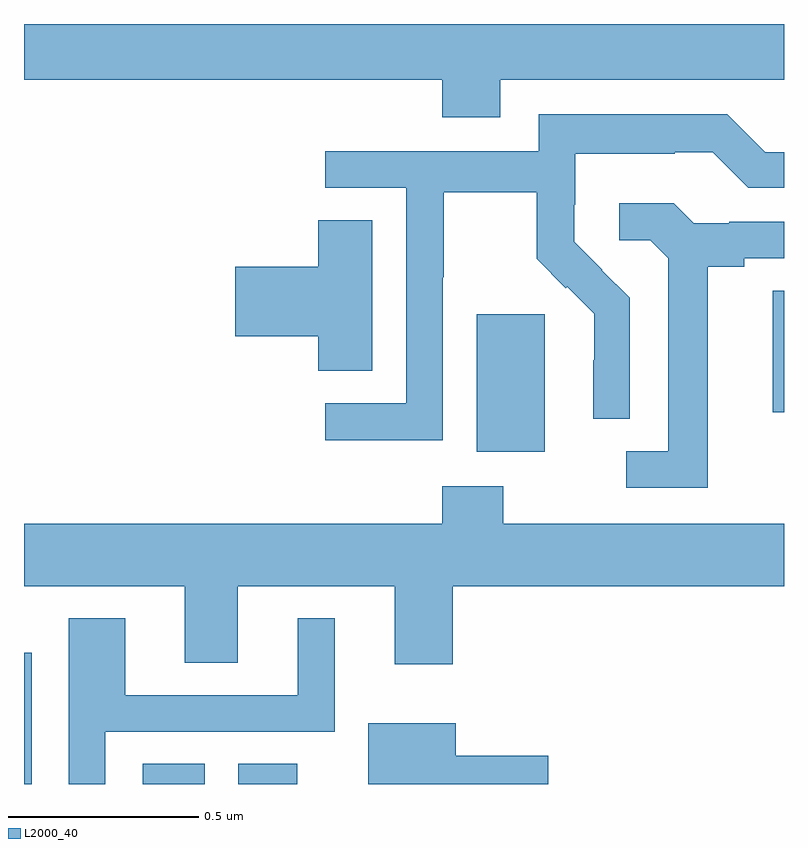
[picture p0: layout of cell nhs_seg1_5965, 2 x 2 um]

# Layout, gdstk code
import gdstk
lib = gdstk.Library(unit=1e-6, precision=1e-09)
def R(c, l, rs):  # rectangles x0, y0, x1, y1
    for r in rs: c.add(gdstk.rectangle(r[:2], r[2:], *l))
def P(c, l, *ps):  # polygons
    for p in ps: c.add(gdstk.Polygon(p, *l))
L2000_40 = (2000, 40)

nhs_seg1_5965 = lib.new_cell('nhs_seg1_5965')
R(nhs_seg1_5965, L2000_40, [(185,563.199,185.02,563.545), (185.312,563.199,185.476,563.252), (185.564,563.199,185.719,563.252), (186.191,564.074,186.37,564.435), (186.971,564.177,187,564.497)])
P(nhs_seg1_5965, L2000_40, [(186.253,565.052),(187,565.052),(187,565.199),(185,565.199),(185,565.052),(186.101,565.052),(186.101,564.953),(186.253,564.953)],
  [(186.102,564.532),(186.105,564.532),(186.105,564.756),(186.349,564.756),(186.349,564.581),(186.426,564.504),(186.429,564.507),(186.5,564.437),(186.5,564.314),(186.498,564.314),(186.498,564.16),(186.594,564.16),(186.594,564.478),(186.521,564.551),(186.522,564.552),(186.448,564.626),(186.448,564.723),(186.45,564.723),(186.45,564.857),(186.713,564.857),(186.713,564.861),(186.813,564.861),(186.906,564.768),(187,564.768),(187,564.861),(186.951,564.861),(186.851,564.961),(186.354,564.961),(186.354,564.864),(185.793,564.864),(185.793,564.768),(186.006,564.768),(186.006,564.201),(185.793,564.201),(185.793,564.103),(186.102,564.103)],
  [(186.799,564.56),(186.895,564.56),(186.895,564.582),(187,564.582),(187,564.678),(186.856,564.678),(186.856,564.675),(186.762,564.675),(186.71,564.727),(186.567,564.727),(186.567,564.63),(186.648,564.63),(186.695,564.583),(186.695,564.075),(186.585,564.075),(186.585,563.979),(186.799,563.979)],
  [(185.917,564.683),(185.774,564.683),(185.774,564.56),(185.556,564.56),(185.556,564.377),(185.774,564.377),(185.774,564.286),(185.917,564.286)],
  [(186.128,563.72),(187,563.72),(187,563.884),(186.261,563.884),(186.261,563.983),(186.101,563.983),(186.101,563.884),(185,563.884),(185,563.72),(185.423,563.72),(185.423,563.518),(185.563,563.518),(185.563,563.72),(185.975,563.72),(185.975,563.514),(186.128,563.514)],
  [(185.214,563.337),(185.818,563.337),(185.818,563.635),(185.72,563.635),(185.72,563.433),(185.266,563.433),(185.266,563.635),(185.118,563.635),(185.118,563.199),(185.214,563.199)],
  [(186.379,563.274),(186.136,563.274),(186.136,563.359),(185.906,563.359),(185.906,563.199),(186.379,563.199)])

lib.write_gds('nhs_seg1_5965.gds')
